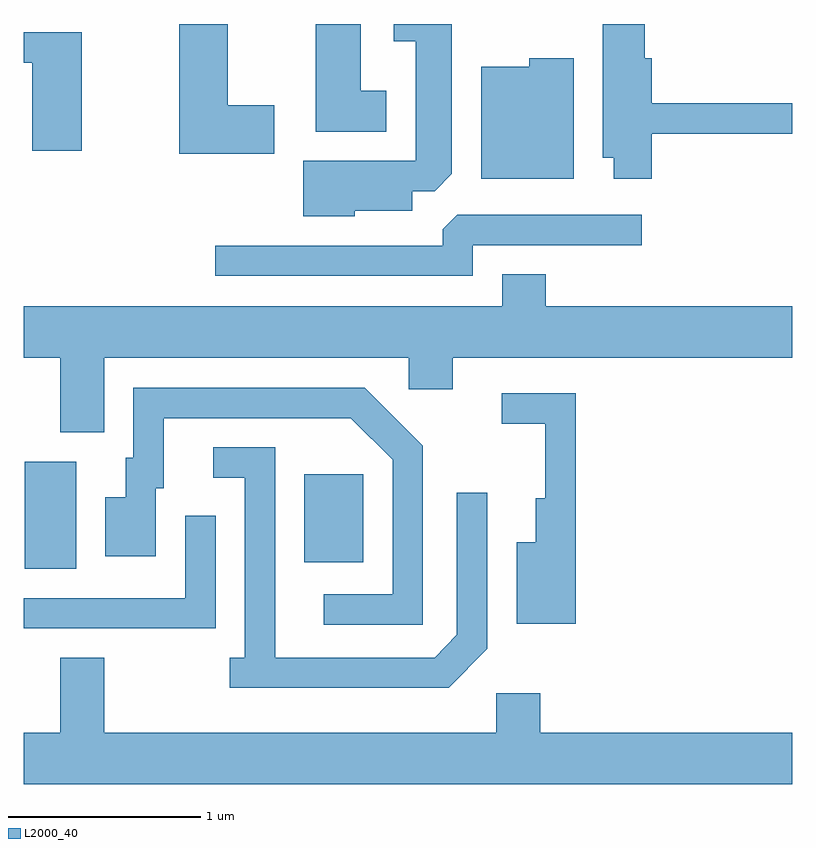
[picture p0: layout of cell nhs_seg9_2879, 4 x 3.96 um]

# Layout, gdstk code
import gdstk
lib = gdstk.Library(unit=1e-6, precision=1e-09)
def R(c, l, rs):  # rectangles x0, y0, x1, y1
    for r in rs: c.add(gdstk.rectangle(r[:2], r[2:], *l))
def P(c, l, *ps):  # polygons
    for p in ps: c.add(gdstk.Polygon(p, *l))
L2000_40 = (2000, 40)

nhs_seg9_2879 = lib.new_cell('nhs_seg9_2879')
R(nhs_seg9_2879, L2000_40, [(269.616,1999.596,269.884,2000.154), (271.071,1999.631,271.379,2000.089)])
P(nhs_seg9_2879, L2000_40, [(271.499,2002.084),(271.364,2002.084),(271.364,2002.432),(271.131,2002.432),(271.131,2001.871),(271.499,2001.871)],
  [(272.879,2001.861),(273.611,2001.861),(273.611,2002.019),(272.879,2002.019),(272.879,2002.254),(272.844,2002.254),(272.844,2002.432),(272.626,2002.432),(272.626,2001.736),(272.681,2001.736),(272.681,2001.626),(272.879,2001.626)],
  [(271.334,2001.461),(271.634,2001.461),(271.634,2001.561),(271.749,2001.561),(271.839,2001.652),(271.839,2002.432),(271.536,2002.432),(271.536,2002.341),(271.651,2002.341),(271.651,2001.719),(271.066,2001.719),(271.066,2001.431),(271.334,2001.431)],
  [(270.914,2002.009),(270.674,2002.009),(270.674,2002.432),(270.421,2002.432),(270.421,2001.756),(270.914,2001.756)],
  [(269.914,2002.389),(269.611,2002.389),(269.611,2002.231),(269.656,2002.231),(269.656,2001.771),(269.914,2001.771)],
  [(272.474,2002.254),(272.241,2002.254),(272.241,2002.209),(271.991,2002.209),(271.991,2001.626),(272.474,2001.626)],
  [(271.949,2001.281),(272.828,2001.281),(272.828,2001.439),(271.867,2001.439),(271.791,2001.364),(271.791,2001.279),(270.608,2001.279),(270.608,2001.121),(271.949,2001.121)],
  [(270.029,2000.696),(271.616,2000.696),(271.616,2000.531),(271.844,2000.531),(271.844,2000.696),(273.611,2000.696),(273.611,2000.964),(272.329,2000.964),(272.329,2001.129),(272.101,2001.129),(272.101,2000.964),(269.611,2000.964),(269.611,2000.696),(269.801,2000.696),(269.801,2000.306),(270.029,2000.306)],
  [(271.689,2000.237),(271.387,2000.539),(270.181,2000.539),(270.181,2000.174),(270.141,2000.174),(270.141,1999.969),(270.036,1999.969),(270.036,1999.661),(270.299,1999.661),(270.299,2000.016),(270.339,2000.016),(270.339,2000.381),(271.314,2000.381),(271.531,2000.164),(271.531,1999.464),(271.173,1999.464),(271.173,1999.306),(271.689,1999.306)],
  [(272.484,2000.509),(272.098,2000.509),(272.098,2000.351),(272.326,2000.351),(272.326,1999.964),(272.276,1999.964),(272.276,1999.734),(272.176,1999.734),(272.176,1999.311),(272.484,1999.311)],
  [(272.024,1999.179),(272.024,1999.993),(271.866,1999.993),(271.866,1999.252),(271.749,1999.134),(270.919,1999.134),(270.919,2000.229),(270.598,2000.229),(270.598,2000.071),(270.761,2000.071),(270.761,1999.134),(270.683,1999.134),(270.683,1998.976),(271.822,1998.976)],
  [(270.609,1999.873),(270.451,1999.873),(270.451,1999.444),(269.611,1999.444),(269.611,1999.286),(270.609,1999.286)],
  [(273.611,1998.744),(272.299,1998.744),(272.299,1998.949),(272.071,1998.949),(272.071,1998.744),(270.029,1998.744),(270.029,1999.134),(269.801,1999.134),(269.801,1998.744),(269.611,1998.744),(269.611,1998.476),(273.611,1998.476)])

lib.write_gds('nhs_seg9_2879.gds')
